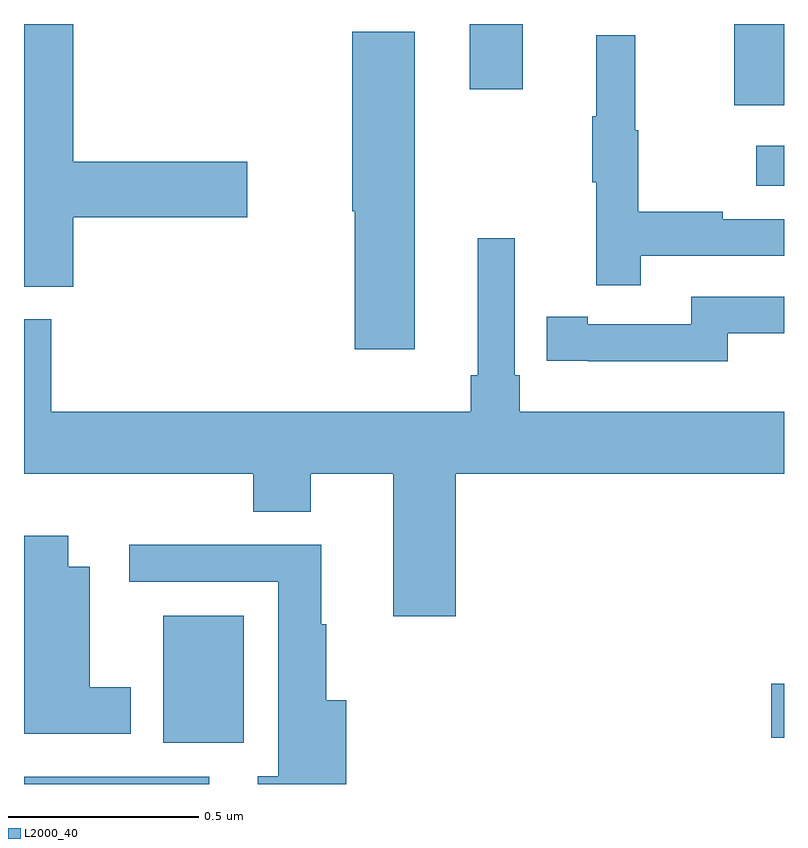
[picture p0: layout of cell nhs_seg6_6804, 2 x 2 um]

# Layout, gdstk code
import gdstk
lib = gdstk.Library(unit=1e-6, precision=1e-09)
def R(c, l, rs):  # rectangles x0, y0, x1, y1
    for r in rs: c.add(gdstk.rectangle(r[:2], r[2:], *l))
def P(c, l, *ps):  # polygons
    for p in ps: c.add(gdstk.Polygon(p, *l))
L2000_40 = (2000, 40)

nhs_seg6_6804 = lib.new_cell('nhs_seg6_6804')
R(nhs_seg6_6804, L2000_40, [(200,966.5,200.488,966.519), (200.366,966.608,200.578,966.943), (201.966,966.622,202,966.764), (201.927,968.075,202,968.179), (201.869,968.286,202,968.5), (201.173,968.328,201.313,968.5)])
P(nhs_seg6_6804, L2000_40, [(200.129,967.991),(200.587,967.991),(200.587,968.138),(200.129,968.138),(200.129,968.5),(200,968.5),(200,967.808),(200.129,967.808)],
  [(201.028,968.479),(200.864,968.479),(200.864,968.007),(200.87,968.007),(200.87,967.644),(201.028,967.644)],
  [(201.623,967.89),(202,967.89),(202,967.986),(201.839,967.986),(201.839,968.006),(201.616,968.006),(201.616,968.22),(201.608,968.22),(201.608,968.47),(201.506,968.47),(201.506,968.257),(201.495,968.257),(201.495,968.083),(201.506,968.083),(201.506,967.812),(201.623,967.812)],
  [(201.136,967.316),(202,967.316),(202,967.48),(201.305,967.48),(201.305,967.576),(201.291,967.576),(201.291,967.936),(201.194,967.936),(201.194,967.576),(201.175,967.576),(201.175,967.48),(200.072,967.48),(200.072,967.723),(200,967.723),(200,967.316),(200.603,967.316),(200.603,967.217),(200.755,967.217),(200.755,967.316),(200.972,967.316),(200.972,966.942),(201.136,966.942)],
  [(201.852,967.686),(202,967.686),(202,967.782),(201.756,967.782),(201.756,967.71),(201.484,967.71),(201.484,967.73),(201.376,967.73),(201.376,967.614),(201.484,967.614),(201.484,967.613),(201.852,967.613)],
  [(200.281,966.754),(200.173,966.754),(200.173,967.072),(200.116,967.072),(200.116,967.153),(200,967.153),(200,966.632),(200.281,966.632)],
  [(200.848,966.721),(200.795,966.721),(200.795,966.921),(200.782,966.921),(200.782,967.13),(200.277,967.13),(200.277,967.032),(200.669,967.032),(200.669,966.52),(200.615,966.52),(200.615,966.5),(200.848,966.5)])

lib.write_gds('nhs_seg6_6804.gds')
